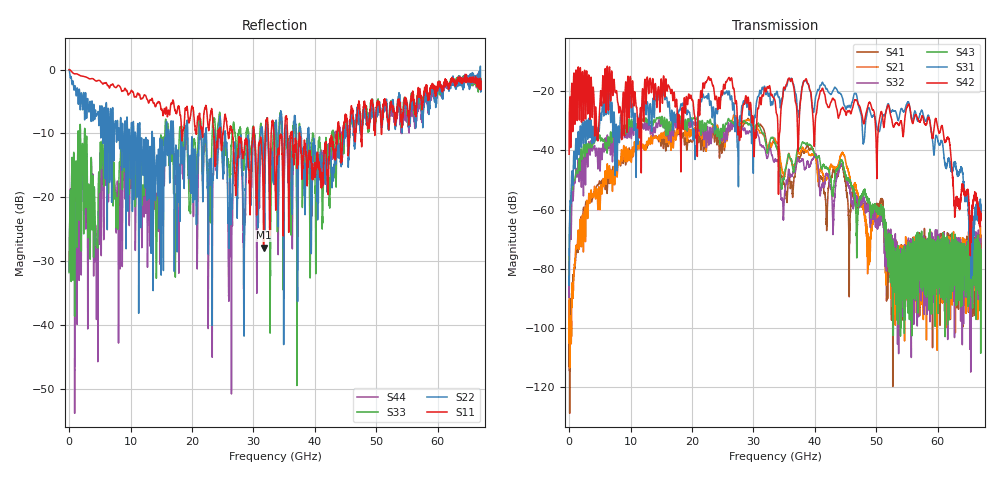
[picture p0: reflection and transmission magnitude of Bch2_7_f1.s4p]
!Agilent Technologies,N5247A,US51170199,A.09.90.13
!Agilent N5247A: A.09.90.13
!Date: Thursday, October 18, 2018 13:10:36
!Correction: S11(Full 4 Port(1,2,3,4))
!S12(Full 4 Port(1,2,3,4))
!S13(Full 4 Port(1,2,3,4))
!S14(Full 4 Port(1,2,3,4))
!S21(Full 4 Port(1,2,3,4))
!S22(Full 4 Port(1,2,3,4))
!S23(Full 4 Port(1,2,3,4))
!S24(Full 4 Port(1,2,3,4))
!S31(Full 4 Port(1,2,3,4))
!S32(Full 4 Port(1,2,3,4))
!S33(Full 4 Port(1,2,3,4))
!S34(Full 4 Port(1,2,3,4))
!S41(Full 4 Port(1,2,3,4))
!S42(Full 4 Port(1,2,3,4))
!S43(Full 4 Port(1,2,3,4))
!S44(Full 4 Port(1,2,3,4))
!S4P File: Measurements: <S11,S12,S13,S14>,
!<S21,S22,S23,S24>,
!<S31,S32,S33,S34>,
!<S41,S42,S43,S44>:
# Hz S  dB  R 50
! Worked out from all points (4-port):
!   6701 points, 10 MHz to 67 GHz, reference 50 ohm
!   strongest paths, dB at 10 MHz, 16.76 GHz, 33.51 GHz, 50.25 GHz, 67 GHz:
!     S42: -41.3, -19.9, -23.2, -34.3, -62.6
!     S31: -82.6, -27.4, -21.0, -33.3, -60.7
!     S43: -84.0, -30.8, -37.7, -61.6, -74.6
!     S32: -81.8, -30.1, -43.3, -64.6, -69.9
!     S21: -76.1, -33.1, -36.1, -63.3, -79.2
!     S41: -94.7, -35.6, -37.3, -58.5, -71.4
!   lowest |S11| = -27.9 dB at 31.65 GHz (marker M1), VSWR 1.08, Z = 47.1 + j2.62 ohm
!   |S11| at or under -10 dB: 26.61 GHz to 29.92 GHz (3.309 GHz wide, 11.7 % of centre); 30.1 GHz to 31.94 GHz (1.833 GHz wide, 5.91 % of centre); 37.49 GHz to 43.58 GHz (6.086 GHz wide, 15 % of centre)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
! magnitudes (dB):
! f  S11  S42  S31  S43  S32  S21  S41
! 10 MHz  0.0  -41.3  -82.6  -84.0  -81.8  -76.1  -94.7
! 1.3 GHz  -0.7  -27.5  -43.1  -47.2  -49.1  -73.0  -74.0
! 6.019 GHz  -2.0  -25.7  -27.8  -37.4  -39.8  -51.3  -51.7
! 31.65 GHz  -27.9  -21.4  -19.5  -34.2  -38.8  -35.0  -32.8
! 55.21 GHz  -7.5  -24.6  -23.7  -75.8  -69.6  -83.7  -77.3
! 65.44 GHz  -1.7  -62.6  -70.8  -75.7  -69.8  -74.4  -79.2
! 67 GHz  -3.1  -62.6  -60.7  -74.6  -69.9  -79.2  -71.4
